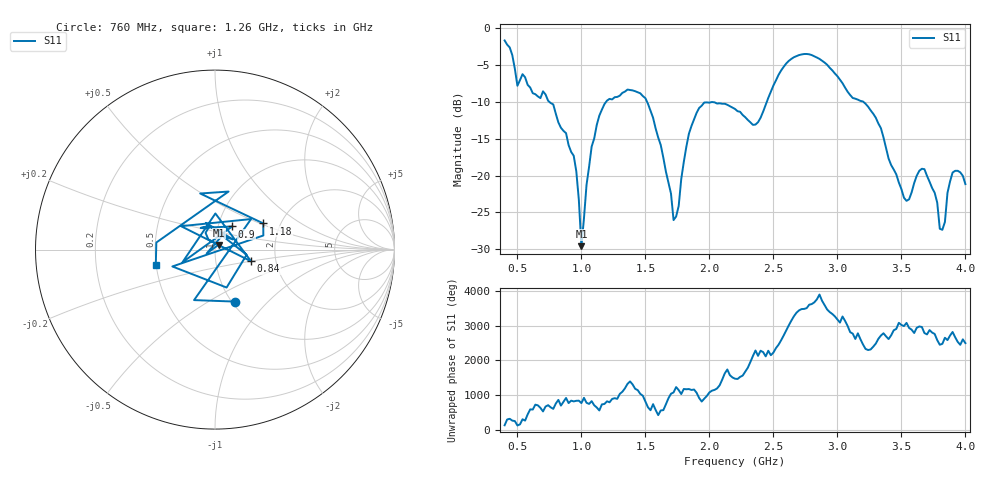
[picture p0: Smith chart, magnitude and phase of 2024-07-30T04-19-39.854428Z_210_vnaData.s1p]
!Created with skrf (http://scikit-rf.org).
# Hz S RI R 50.0
!freq ReS11 ImS11
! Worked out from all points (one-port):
!   181 points, 400 MHz to 4 GHz, reference 50 ohm
!   lowest |S11| = -29.6 dB at 1 GHz (marker M1), VSWR 1.07, Z = 52 + j2.75 ohm
!   |S11| at or under -10 dB: 750.8 MHz to 1.192 GHz (441.1 MHz wide, 45.4 % of centre); 1.514 GHz to 2.448 GHz (934.4 MHz wide, 47.2 % of centre); 3.204 GHz to end of sweep
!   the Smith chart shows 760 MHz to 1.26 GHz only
!   S11 on the Smith chart (normalised r, x): 760 MHz: 1.04, -0.67; 840 MHz: 1.49, -0.20; 900 MHz: 1.17, +0.31; 1.18 GHz: 1.63, +0.53; 1.26 GHz: 0.50, -0.10
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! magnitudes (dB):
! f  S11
! 400 MHz  -1.6
! 500 MHz  -7.8
! 760 MHz  -10.1
! 840 MHz  -13.5
! 860 MHz  -13.9
! 900 MHz  -15.9
! 960 MHz  -19.4
! 1 GHz  -29.6
! 1.08 GHz  -16.1
! 1.18 GHz  -10.3
! 1.26 GHz  -9.3
! 1.3 GHz  -9.1
! 1.5 GHz  -9.5
! 1.62 GHz  -15.9
! 1.72 GHz  -26.0
! 1.76 GHz  -24.1
! 1.84 GHz  -14.3
! 1.92 GHz  -10.8
! 2.2 GHz  -10.9
! 2.36 GHz  -13.1
! 2.66 GHz  -3.9
! 3.1 GHz  -9.1
! 3.3 GHz  -12.1
! 3.56 GHz  -23.2
! 3.68 GHz  -19.1
! 3.82 GHz  -27.4
! 3.9 GHz  -19.6
! 4 GHz  -21.2
